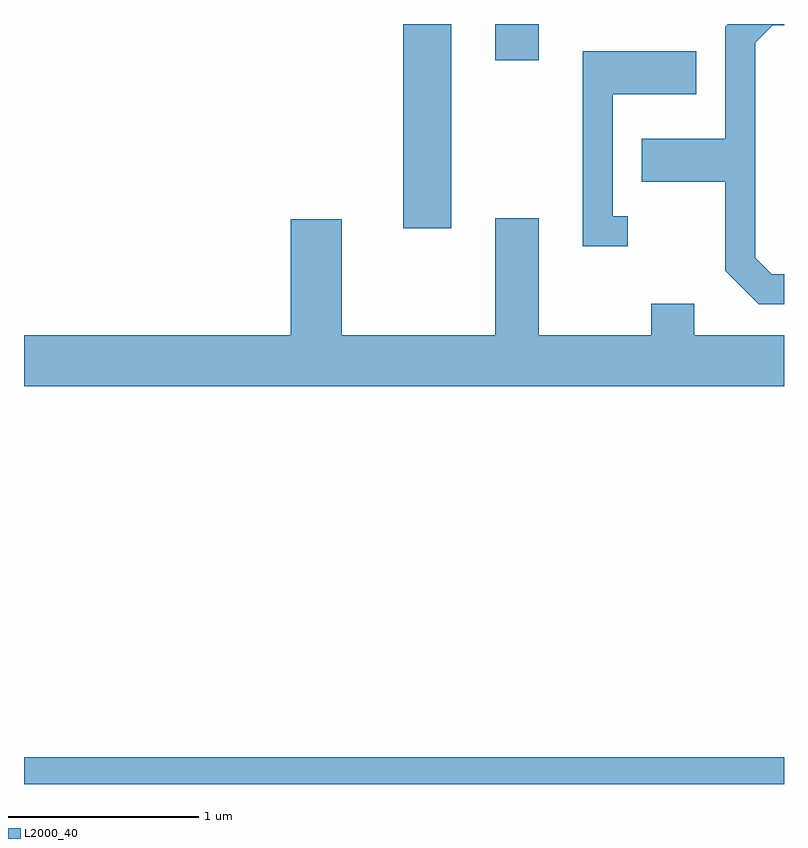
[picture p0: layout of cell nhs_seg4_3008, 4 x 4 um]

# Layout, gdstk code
import gdstk
lib = gdstk.Library(unit=1e-6, precision=1e-09)
def R(c, l, rs):  # rectangles x0, y0, x1, y1
    for r in rs: c.add(gdstk.rectangle(r[:2], r[2:], *l))
def P(c, l, *ps):  # polygons
    for p in ps: c.add(gdstk.Polygon(p, *l))
L2000_40 = (2000, 40)

nhs_seg4_3008 = lib.new_cell('nhs_seg4_3008')
R(nhs_seg4_3008, L2000_40, [(273.611,1285.982,277.611,1286.124), (275.606,1288.906,275.859,1289.982), (276.091,1289.791,276.319,1289.982)])
P(nhs_seg4_3008, L2000_40, [(277.611,1288.664),(277.547,1288.664),(277.459,1288.752),(277.459,1289.884),(277.552,1289.976),(277.611,1289.976),(277.611,1289.982),(277.316,1289.982),(277.301,1289.967),(277.301,1289.379),(276.861,1289.379),(276.861,1289.151),(277.301,1289.151),(277.301,1288.684),(277.479,1288.506),(277.611,1288.506)],
  [(276.788,1288.969),(276.709,1288.969),(276.709,1289.611),(277.149,1289.611),(277.149,1289.839),(276.551,1289.839),(276.551,1288.811),(276.788,1288.811)],
  [(277.611,1288.344),(277.139,1288.344),(277.139,1288.509),(276.911,1288.509),(276.911,1288.344),(276.319,1288.344),(276.319,1288.959),(276.091,1288.959),(276.091,1288.344),(275.284,1288.344),(275.284,1288.954),(275.016,1288.954),(275.016,1288.344),(273.611,1288.344),(273.611,1288.076),(277.611,1288.076)])

lib.write_gds('nhs_seg4_3008.gds')
